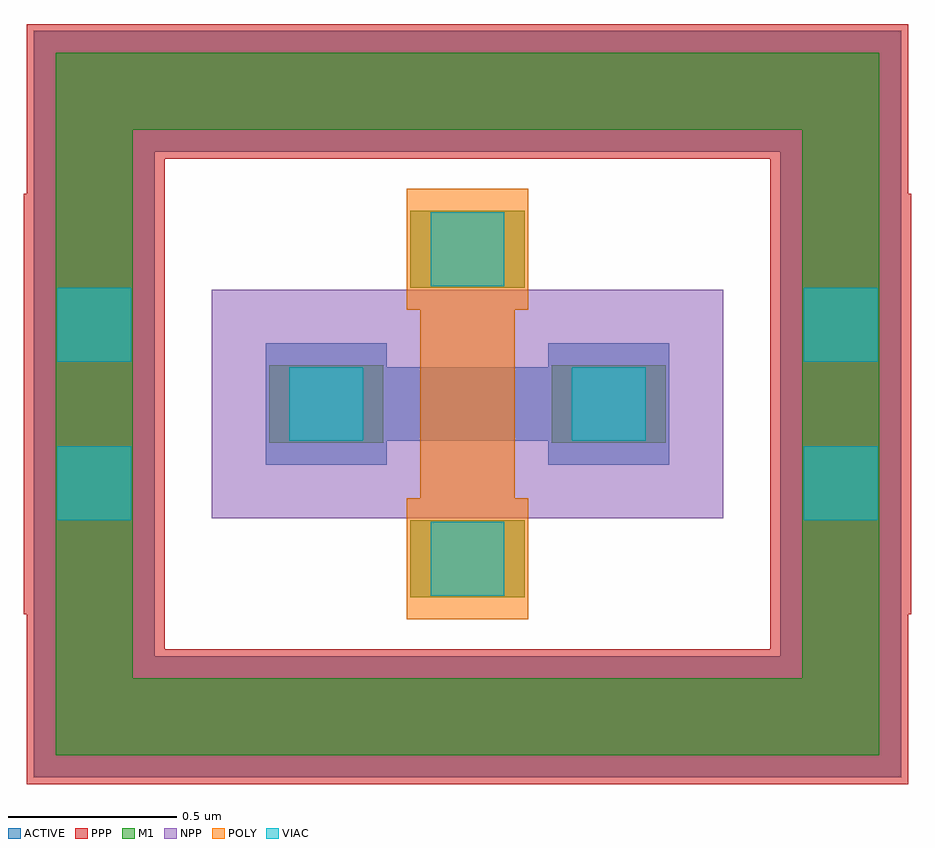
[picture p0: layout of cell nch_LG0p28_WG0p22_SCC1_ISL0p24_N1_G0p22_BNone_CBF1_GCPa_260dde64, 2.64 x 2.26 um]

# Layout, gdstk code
import gdstk
lib = gdstk.Library(unit=1e-6, precision=1e-09)
def R(c, l, rs):  # rectangles x0, y0, x1, y1
    for r in rs: c.add(gdstk.rectangle(r[:2], r[2:], *l))
ACTIVE = (10, 0)
POLY = (11, 0)
NPP = (24, 0)
PPP = (25, 0)
VIAC = (40, 0)
M1 = (41, 0)

nch_lg0p28_wg0p22_scc1_i = lib.new_cell('nch_LG0p28_WG0p22_SCC1_ISL0p24_N1_G0p22_BNone_CBF1_GCPa_260dde64')
R(nch_lg0p28_wg0p22_scc1_i, ACTIVE, [(-1.29,-1.11,1.29,-0.75), (-1.29,-1.11,-0.93,1.11), (0.93,-1.11,1.29,1.11), (-1.29,-0.595,-0.93,0.595), (0.93,-0.595,1.29,0.595), (-0.6,-0.18,-0.24,-0.11), (-0.6,-0.18,-0.24,0.18), (0.24,-0.18,0.6,-0.11), (0.24,-0.18,0.6,0.18), (-0.535,-0.11,0.535,0.11), (-0.6,0.11,-0.24,0.18), (0.24,0.11,0.6,0.18), (-1.29,0.75,1.29,1.11)])
R(nch_lg0p28_wg0p22_scc1_i, POLY, [(-0.18,-0.64,0.18,-0.28), (-0.14,-0.46,0.14,0.46), (-0.18,0.28,0.18,0.64)])
R(nch_lg0p28_wg0p22_scc1_i, NPP, [(-0.76,-0.34,0.76,0.34)])
R(nch_lg0p28_wg0p22_scc1_i, PPP, [(-1.31,-1.13,1.31,-0.73), (-1.31,-0.73,-0.9,-0.625), (0.9,-0.73,1.31,-0.625), (-1.32,-0.625,-0.9,0.625), (0.9,-0.625,1.32,0.625), (-1.31,0.625,-0.9,0.73), (0.9,0.625,1.31,0.73), (-1.31,0.73,1.31,1.13)])
R(nch_lg0p28_wg0p22_scc1_i, VIAC, [(-0.11,-0.57,0.11,-0.35), (-1.22,-0.345,-1,-0.125), (1,-0.345,1.22,-0.125), (-0.53,-0.11,-0.31,0.11), (0.31,-0.11,0.53,0.11), (-1.22,0.125,-1,0.345), (1,0.125,1.22,0.345), (-0.11,0.35,0.11,0.57)])
R(nch_lg0p28_wg0p22_scc1_i, M1, [(-1.225,-1.045,1.225,-0.815), (-1.225,-1.045,-0.995,1.045), (0.995,-1.045,1.225,1.045), (-1.225,-0.585,-0.995,0.585), (0.995,-0.585,1.225,0.585), (-0.17,-0.575,0.17,-0.345), (-0.59,-0.115,-0.25,0.115), (0.25,-0.115,0.59,0.115), (-0.17,0.345,0.17,0.575), (-1.225,0.815,1.225,1.045)])

lib.write_gds('nch_LG0p28_WG0p22_SCC1_ISL0p24_N1_G0p22_BNone_CBF1_GCPa_260dde64.gds')
